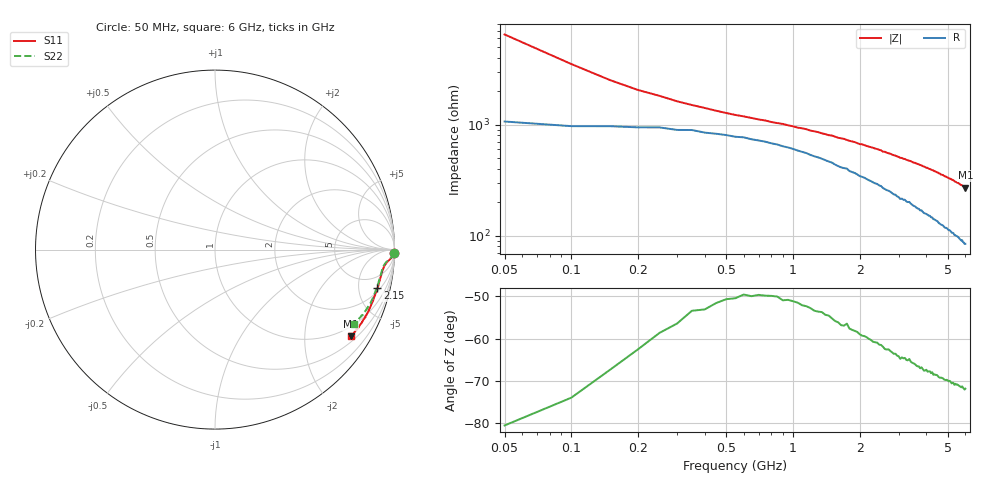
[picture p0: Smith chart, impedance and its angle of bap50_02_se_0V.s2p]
! Created by janssen on Wed Jul 24 13:32:30 METDST 2002
# HZ S MA R 50
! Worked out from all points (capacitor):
!   120 points, 50 MHz to 6 GHz, reference 50 ohm
!   read as one part in series: C = 472 fF near 50 MHz
!   lowest |Z| = 271 ohm at 6 GHz (marker M1)
!   S11 on the Smith chart (normalised r, x): 50 MHz: 10, -97; 2.15 GHz: 2.43, -7.79; 6 GHz: 0.67, -3.30
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5e7  0.9978 -1.2  0.01543 79.4  0.01534 80.6  0.9986 -1.0
1e8  0.9916 -2.0  0.02829 72.0  0.02851 69.6  0.9921 -1.9
1.5e8  0.985 -2.6  0.03926 64.8  0.03863 64.9  0.9844 -2.4
2e8  0.9786 -3.0  0.04775 59.6  0.04751 59.9  0.9777 -2.9
2.5e8  0.9717 -3.5  0.05353 55.3  0.0538 55.7  0.9715 -3.3
3e8  0.9667 -3.8  0.05964 52.8  0.05952 53.1  0.9671 -3.5
3.5e8  0.9628 -4.0  0.06409 49.5  0.06461 50.0  0.962 -3.9
4.5e8  0.9569 -4.6  0.07166 47.2  0.07201 47.5  0.955 -4.3
6e8  0.9497 -5.4  0.07993 44.5  0.08075 45.0  0.9478 -5.0
8e8  0.9431 -6.4  0.08931 43.9  0.08951 44.2  0.9426 -5.8
1.05e9  0.9397 -7.7  0.09966 44.3  0.09999 44.8  0.9372 -6.9
1.6e9  0.9341 -10.6  0.1221 46.3  0.1215 46.4  0.9316 -9.4
2.05e9  0.9311 -12.9  0.1389 47.3  0.1395 47.5  0.9306 -11.4
2.15e9  0.9304 -13.4  0.1435 47.2  0.1454 47.9  0.9284 -11.9
3.05e9  0.926 -18.0  0.1807 48.1  0.1837 48.1  0.9217 -15.8
3.35e9  0.9232 -19.2  0.1911 47.0  0.1929 47.7  0.9211 -16.8
3.65e9  0.9228 -20.6  0.2034 47.5  0.2081 47.8  0.9173 -18.0
3.8e9  0.9214 -21.3  0.2084 47.0  0.2116 47.0  0.9162 -18.7
4.05e9  0.9201 -22.5  0.2189 47.0  0.2246 46.6  0.915 -19.6
5.05e9  0.9102 -27.4  0.264 44.7  0.2691 43.7  0.9003 -23.8
5.7e9  0.9041 -30.7  0.2954 42.9  0.2982 41.7  0.8842 -26.6
6e9  0.8971 -32.6  0.3089 41.8  0.3108 40.7  0.8776 -28.1
